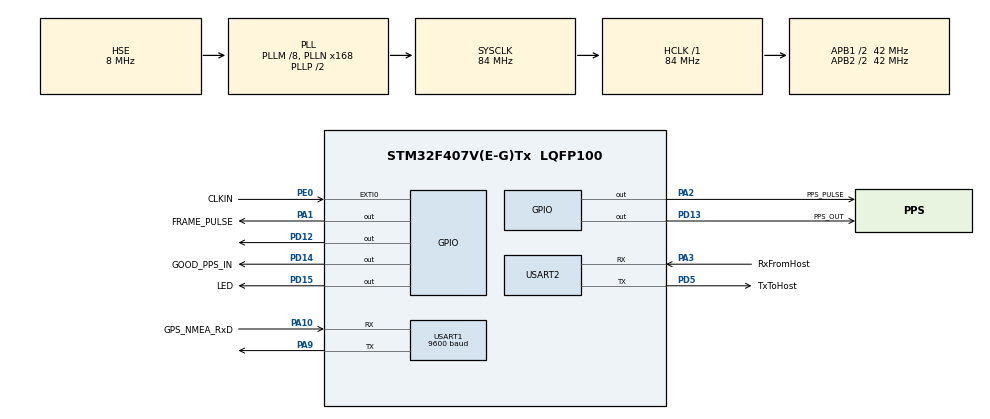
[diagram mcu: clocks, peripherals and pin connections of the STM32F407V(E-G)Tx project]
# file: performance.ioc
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Mcu.Family=STM32F4
Mcu.Name=STM32F407V(E-G)Tx
Mcu.Package=LQFP100
NVIC.EXTI0_IRQn=true\:0\:0\:false\:false\:true
NVIC.PriorityGroup=NVIC_PRIORITYGROUP_4
NVIC.USART1_IRQn=true\:0\:0\:false\:false\:true
NVIC.USART2_IRQn=true\:0\:0\:false\:false\:true
PA1.GPIO_Label=FRAME_PULSE
PA1.Signal=GPIO_Output
PA10.GPIO_Label=GPS_NMEA_RxD
PA10.Mode=Asynchronous
PA10.Signal=USART1_RX
PA2.GPIO_Label=PPS_PULSE
PA2.Signal=GPIO_Output
PA3.GPIO_Label=RxFromHost
PA3.Mode=Asynchronous
PA3.Signal=USART2_RX
PA9.Mode=Asynchronous
PA9.Signal=USART1_TX
PD12.Signal=GPIO_Output
PD13.GPIO_Label=PPS_OUT
PD13.Signal=GPIO_Output
PD14.GPIO_Label=GOOD_PPS_IN
PD14.Signal=GPIO_Output
PD15.GPIO_Label=LED
PD15.Signal=GPIO_Output
PD5.GPIO_Label=TxToHost
PD5.Mode=Asynchronous
PD5.Signal=USART2_TX
PE0.GPIO_Label=CLKIN
PE0.Signal=GPXTI0
PH0-OSC_IN.Mode=HSE-External-Oscillator
PH0-OSC_IN.Signal=RCC_OSC_IN
PH1-OSC_OUT.Mode=HSE-External-Oscillator
PH1-OSC_OUT.Signal=RCC_OSC_OUT
ProjectManager.HeapSize=0x200
ProjectManager.StackSize=0x400
ProjectManager.TargetToolchain=MDK-ARM V5
RCC.48MHZClocksFreq_Value=42000000
RCC.AHBFreq_Value=84000000
RCC.APB1CLKDivider=RCC_HCLK_DIV2
RCC.APB1Freq_Value=42000000
RCC.APB1TimFreq_Value=84000000
RCC.APB2CLKDivider=RCC_HCLK_DIV2
RCC.APB2Freq_Value=42000000
RCC.APB2TimFreq_Value=84000000
RCC.CortexFreq_Value=84000000
RCC.HCLKFreq_Value=84000000
RCC.HSE_VALUE=8000000
RCC.HSI_VALUE=16000000
RCC.LSE_VALUE=32768
RCC.PLLM=8
RCC.PLLN=168
RCC.PLLSourceVirtual=RCC_PLLSOURCE_HSE
RCC.SYSCLKFreq_VALUE=84000000
RCC.SYSCLKSource=RCC_SYSCLKSOURCE_PLLCLK
RCC.VCOOutputFreq_Value=168000000
USART1.BaudRate=9600
board=performance

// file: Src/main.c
/**
  ******************************************************************************
  * File Name          : main.c
  * Description        : Main program body
  ******************************************************************************
  *
  * COPYRIGHT(c) 2017 STMicroelectronics
  *
  * Redistribution and use in source and binary forms, with or without modification,
  * are permitted provided that the following conditions are met:
  *   1. Redistributions of source code must retain the above copyright notice,
  *      this list of conditions and the following disclaimer.
  *   2. Redistributions in binary form must reproduce the above copyright notice,
  *      this list of conditions and the following disclaimer in the documentation
  *      and/or other materials provided with the distribution.
  *   3. Neither the name of STMicroelectronics nor the names of its contributors
  *      may be used to endorse or promote products derived from this software
  *      without specific prior written permission.
  *
  * THIS SOFTWARE IS PROVIDED BY THE COPYRIGHT HOLDERS AND CONTRIBUTORS "AS IS"
  * AND ANY EXPRESS OR IMPLIED WARRANTIES, INCLUDING, BUT NOT LIMITED TO, THE
  * IMPLIED WARRANTIES OF MERCHANTABILITY AND FITNESS FOR A PARTICULAR PURPOSE ARE
  * DISCLAIMED. IN NO EVENT SHALL THE COPYRIGHT HOLDER OR CONTRIBUTORS BE LIABLE
  * FOR ANY DIRECT, INDIRECT, INCIDENTAL, SPECIAL, EXEMPLARY, OR CONSEQUENTIAL
  * DAMAGES (INCLUDING, BUT NOT LIMITED TO, PROCUREMENT OF SUBSTITUTE GOODS OR
  * SERVICES; LOSS OF USE, DATA, OR PROFITS; OR BUSINESS INTERRUPTION) HOWEVER
  * CAUSED AND ON ANY THEORY OF LIABILITY, WHETHER IN CONTRACT, STRICT LIABILITY,
  * OR TORT (INCLUDING NEGLIGENCE OR OTHERWISE) ARISING IN ANY WAY OUT OF THE USE
  * OF THIS SOFTWARE, EVEN IF ADVISED OF THE POSSIBILITY OF SUCH DAMAGE.
  *
  ******************************************************************************
  */
#include "stm32f4xx_hal.h"
#include "usart.h"
#include "gpio.h"
#include "string.h"

/* USER CODE BEGIN Includes */

#include "serial.h"
#include "uart.h"

/* USER CODE END Includes */

/* USER CODE BEGIN PV */
/* Private variables ---------------------------------------------------------*/

int clockTicks = 0;
int nPulses = 0;
int verbose = 0;

char gprmcMsg[128];

/* USER CODE END PV */

void SystemClock_Config(void);
void Error_Handler(void);

/* USER CODE BEGIN PFP */
/* Private function prototypes -----------------------------------------------*/

/* USER CODE END PFP */

/* USER CODE BEGIN 0 */

float lat = 144326.00;
float lon = 5107.0017737;
void generateGPRMC(char *msg, int msgSize) {
	int ss = clockTicks / 1000;
	int hh = ss / 3600;
	ss -= hh * 3600;
	int mm = ss/ 60;
	ss -= mm * 60;
	const char *format = "$GPRMC,%02d%02d%02d.00,A,5107.0017737,N,11402.3291611,W,0.080,323.3,3,080417,0.0,E,A*00";
	snprintf(msg, msgSize, format, hh, mm, ss);

#if 0
/* the checksum for the next sentence should be 0x28 which means the A*00 should be replaced by A*28 */
	snprintf(msg, msgSize, "$GPGLL,5300.97914,N,00259.98174,E,125926,A*00");
#endif

	int msgLength = strlen(msg);
	int i, checkSumLength = msgLength - 4; /* between $ and * */
	unsigned char checkSum = 0, *payload = (unsigned char *)(msg + 1);
	for(i=0;i<checkSumLength;++i) {
		checkSum = checkSum ^ payload[i];
	}
	snprintf(&msg[msgLength-2], msgSize, "%2.2x", checkSum);
}

/* USER CODE END 0 */

int main(void)
{

  /* USER CODE BEGIN 1 */

	initUarts();

  /* USER CODE END 1 */

  /* MCU Configuration----------------------------------------------------------*/

  /* Reset of all peripherals, Initializes the Flash interface and the Systick. */
  HAL_Init();

  /* Configure the system clock */
  SystemClock_Config();

  /* Initialize all configured peripherals */
  MX_GPIO_Init();
  MX_USART2_UART_Init();
  MX_USART1_UART_Init();

  /* USER CODE BEGIN 2 */

	unsigned int value = huart1.Instance->CR1;
	value |= uartRxNEIE;
	huart1.Instance->CR1 = value;

	value = huart2.Instance->CR1;
	value |= uartRxNEIE;
	huart2.Instance->CR1 = value;

  /* USER CODE END 2 */

  /* Infinite loop */
  while (1)
  {

  /* USER CODE BEGIN 3 */

	  int timeout = clockTicks + 1000;
	  while(clockTicks < timeout) processUarts();
	  generateGPRMC(gprmcMsg, sizeof(gprmcMsg));
	  cat(gprmcMsg);
	  // huart2.Instance->DR = 'a';
	  // char str[64];
	  // snprintf(str, sizeof(str), "%d pulses received\n", nPulses);
	  // cat(str);

  }
  /* USER CODE END 3 */

}

/** System Clock Configuration
*/
void SystemClock_Config(void)
{

  RCC_OscInitTypeDef RCC_OscInitStruct;
  RCC_ClkInitTypeDef RCC_ClkInitStruct;

  __HAL_RCC_PWR_CLK_ENABLE();

  __HAL_PWR_VOLTAGESCALING_CONFIG(PWR_REGULATOR_VOLTAGE_SCALE1);

  RCC_OscInitStruct.OscillatorType = RCC_OSCILLATORTYPE_HSE;
  RCC_OscInitStruct.HSEState = RCC_HSE_ON;
  RCC_OscInitStruct.PLL.PLLState = RCC_PLL_ON;
  RCC_OscInitStruct.PLL.PLLSource = RCC_PLLSOURCE_HSE;
  RCC_OscInitStruct.PLL.PLLM = 8;
  RCC_OscInitStruct.PLL.PLLN = 168;
  RCC_OscInitStruct.PLL.PLLP = RCC_PLLP_DIV2;
  RCC_OscInitStruct.PLL.PLLQ = 4;
  if (HAL_RCC_OscConfig(&RCC_OscInitStruct) != HAL_OK)
  {
    Error_Handler();
  }

  RCC_ClkInitStruct.ClockType = RCC_CLOCKTYPE_HCLK|RCC_CLOCKTYPE_SYSCLK
                              |RCC_CLOCKTYPE_PCLK1|RCC_CLOCKTYPE_PCLK2;
  RCC_ClkInitStruct.SYSCLKSource = RCC_SYSCLKSOURCE_PLLCLK;
  RCC_ClkInitStruct.AHBCLKDivider = RCC_SYSCLK_DIV1;
  RCC_ClkInitStruct.APB1CLKDivider = RCC_HCLK_DIV2;
  RCC_ClkInitStruct.APB2CLKDivider = RCC_HCLK_DIV2;
  if (HAL_RCC_ClockConfig(&RCC_ClkInitStruct, FLASH_LATENCY_2) != HAL_OK)
  {
    Error_Handler();
  }

  HAL_SYSTICK_Config(HAL_RCC_GetHCLKFreq()/1000);

  HAL_SYSTICK_CLKSourceConfig(SYSTICK_CLKSOURCE_HCLK);

  /* SysTick_IRQn interrupt configuration */
  HAL_NVIC_SetPriority(SysTick_IRQn, 0, 0);
}

void Error_Handler(void)
{
  while(1)
  {
  }
}

/************************ (C) COPYRIGHT STMicroelectronics *****END OF FILE****/
